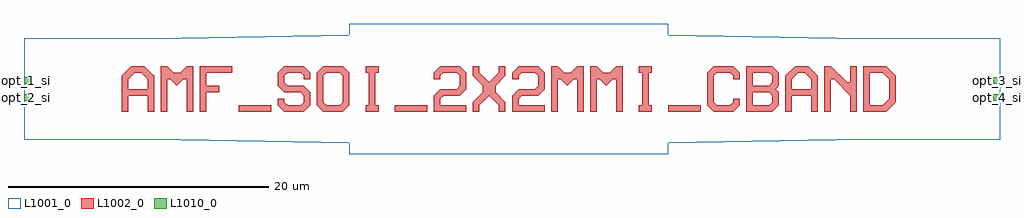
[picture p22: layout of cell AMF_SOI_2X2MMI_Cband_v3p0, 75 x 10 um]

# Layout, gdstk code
import gdstk
lib = gdstk.Library(unit=1e-6, precision=1e-09)
def R(c, l, rs):  # rectangles x0, y0, x1, y1
    for r in rs: c.add(gdstk.rectangle(r[:2], r[2:], *l))
def P(c, l, *ps):  # polygons
    for p in ps: c.add(gdstk.Polygon(p, *l))
L1001_0 = (1001, 0)
L1002_0 = (1002, 0)
L1010_0 = (1010, 0)

amf_soi_2x2mmi_cband_v3p = lib.new_cell('AMF_SOI_2X2MMI_Cband_v3p0')
P(amf_soi_2x2mmi_cband_v3p, L1001_0, [(25,-5),(25,-4.168),(9.95,-3.917),(0,-3.917),(0,3.917),(9.95,3.917),(25,4.168),(25,5),(49.5,5),(49.5,4.168),(64.55,3.917),(75,3.917),(75,-3.917),(64.55,-3.917),(49.5,-4.168),(49.5,-5)])
R(amf_soi_2x2mmi_cband_v3p, L1002_0, [(16.5,-1.75,19,-1.25), (28.5,-1.75,31,-1.25), (49.5,-1.75,52,-1.25)])
P(amf_soi_2x2mmi_cband_v3p, L1002_0, [(7.5,-1.75),(7.5,1),(8.25,1.75),(9.25,1.75),(9.75,1.25),(8.5,1.25),(8,0.75),(8,0),(9.5,0),(9.5,0.75),(9,1.25),(9.75,1.25),(10,1),(10,-1.75),(9.5,-1.75),(9.5,-0.5),(8,-0.5),(8,-1.75)],
  [(10.5,-1.75),(10.5,1.75),(11,1.75),(11.5,1.25),(12,1.25),(12.5,1.75),(13,1.75),(13,-1.75),(12.5,-1.75),(12.5,0.75),(12.25,0.75),(11.75,0.25),(11.25,0.75),(11,0.75),(11,-1.75)],
  [(13.5,-1.75),(13.5,1.75),(16,1.75),(16,1.25),(14,1.25),(14,0.25),(15,0.25),(15,-0.25),(14,-0.25),(14,-1.75)],
  [(20,-1.75),(19.5,-1.25),(19.5,-0.75),(20,-0.75),(20,-1),(20.25,-1.25),(21.25,-1.25),(21.5,-1),(21.5,-0.5),(21.25,-0.25),(20,-0.25),(19.5,0.25),(19.5,1.25),(20,1.75),(21.5,1.75),(22,1.25),(22,0.75),(21.5,0.75),(21.5,1),(21.25,1.25),(20.25,1.25),(20,1),(20,0.5),(20.25,0.25),(21.5,0.25),(22,-0.25),(22,-1.25),(21.5,-1.75)],
  [(23,-1.75),(22.5,-1.25),(22.5,1.25),(23,1.75),(24.5,1.75),(25,1.25),(25,0),(24.5,0),(24.5,1),(24.25,1.25),(23.25,1.25),(23,1),(23,-1),(23.25,-1.25),(24.25,-1.25),(24.5,-1),(24.5,0),(25,0),(25,-1.25),(24.5,-1.75)],
  [(26.25,-1.75),(26.25,-1.25),(26.5,-1.25),(26.5,1.25),(26.25,1.25),(26.25,1.75),(27.25,1.75),(27.25,1.25),(27,1.25),(27,-1.25),(27.25,-1.25),(27.25,-1.75)],
  [(31.5,-1.75),(31.5,-0.5),(32,0),(33.25,0),(33.5,0.25),(33.5,1),(33.25,1.25),(32.25,1.25),(32,1),(32,0.75),(31.5,0.75),(31.5,1.25),(32,1.75),(33.5,1.75),(34,1.25),(34,0),(33.5,-0.5),(32.25,-0.5),(32,-0.75),(32,-1.25),(34,-1.25),(34,-1.75)],
  [(34.5,-1.75),(34.5,-1),(35.25,-0.25),(35.25,0.25),(34.5,1),(34.5,1.75),(35,1.75),(35,1.25),(35.75,0.5),(36.5,1.25),(36.5,1.75),(37,1.75),(37,1),(36.25,0.25),(36.25,-0.25),(37,-1),(37,-1.75),(36.5,-1.75),(36.5,-1.25),(35.75,-0.5),(35,-1.25),(35,-1.75)],
  [(37.5,-1.75),(37.5,-0.5),(38,0),(39.25,0),(39.5,0.25),(39.5,1),(39.25,1.25),(38.25,1.25),(38,1),(38,0.75),(37.5,0.75),(37.5,1.25),(38,1.75),(39.5,1.75),(40,1.25),(40,0),(39.5,-0.5),(38.25,-0.5),(38,-0.75),(38,-1.25),(40,-1.25),(40,-1.75)],
  [(40.5,-1.75),(40.5,1.75),(41,1.75),(41.5,1.25),(42,1.25),(42.5,1.75),(43,1.75),(43,-1.75),(42.5,-1.75),(42.5,0.75),(42.25,0.75),(41.75,0.25),(41.25,0.75),(41,0.75),(41,-1.75)],
  [(43.5,-1.75),(43.5,1.75),(44,1.75),(44.5,1.25),(45,1.25),(45.5,1.75),(46,1.75),(46,-1.75),(45.5,-1.75),(45.5,0.75),(45.25,0.75),(44.75,0.25),(44.25,0.75),(44,0.75),(44,-1.75)],
  [(47.25,-1.75),(47.25,-1.25),(47.5,-1.25),(47.5,1.25),(47.25,1.25),(47.25,1.75),(48.25,1.75),(48.25,1.25),(48,1.25),(48,-1.25),(48.25,-1.25),(48.25,-1.75)],
  [(53,-1.75),(52.5,-1.25),(52.5,1.25),(53,1.75),(54.5,1.75),(55,1.25),(55,0.75),(54.5,0.75),(54.5,1),(54.25,1.25),(53.25,1.25),(53,1),(53,-1),(53.25,-1.25),(54.25,-1.25),(54.5,-1),(54.5,-0.75),(55,-0.75),(55,-1.25),(54.5,-1.75)],
  [(55.5,-1.75),(55.5,1.75),(57.5,1.75),(58,1.25),(56,1.25),(56,0.25),(57.25,0.25),(57.5,0.5),(57.5,1),(57.25,1.25),(58,1.25),(58,0.25),(57.75,0),(58,-0.25),(56,-0.25),(56,-1.25),(57.25,-1.25),(57.5,-1),(57.5,-0.5),(57.25,-0.25),(58,-0.25),(58,-1.25),(57.5,-1.75)],
  [(58.5,-1.75),(58.5,1),(59.25,1.75),(60.25,1.75),(60.75,1.25),(59.5,1.25),(59,0.75),(59,0),(60.5,0),(60.5,0.75),(60,1.25),(60.75,1.25),(61,1),(61,-1.75),(60.5,-1.75),(60.5,-0.5),(59,-0.5),(59,-1.75)],
  [(61.5,-1.75),(61.5,1.75),(62,1.75),(63.25,0.5),(63.5,0.5),(63.5,1.75),(64,1.75),(64,-1.75),(63.5,-1.75),(63.5,-0.5),(62.25,0.75),(62,0.75),(62,-1.75)],
  [(64.5,-1.75),(64.5,1.75),(66.25,1.75),(66.75,1.25),(65,1.25),(65,-1.25),(66,-1.25),(66.5,-0.75),(66.5,0.75),(66,1.25),(66.75,1.25),(67,1),(67,-1),(66.25,-1.75)])
R(amf_soi_2x2mmi_cband_v3p, L1010_0, [(0,-0.917,0.5,-0.417), (74.5,-0.917,75,-0.417), (0,0.417,0.5,0.917), (74.5,0.417,75,0.917)])
amf_soi_2x2mmi_cband_v3p.add(gdstk.Label('opt_1_si', (0,0.667), layer=1010, texttype=0))
amf_soi_2x2mmi_cband_v3p.add(gdstk.Label('opt_2_si', (0,-0.667), layer=1010, texttype=0))
amf_soi_2x2mmi_cband_v3p.add(gdstk.Label('opt_3_si', (75,0.667), layer=1010, texttype=0))
amf_soi_2x2mmi_cband_v3p.add(gdstk.Label('opt_4_si', (75,-0.667), layer=1010, texttype=0))

lib.write_gds('AMF_SOI_2X2MMI_Cband_v3p0.gds')
